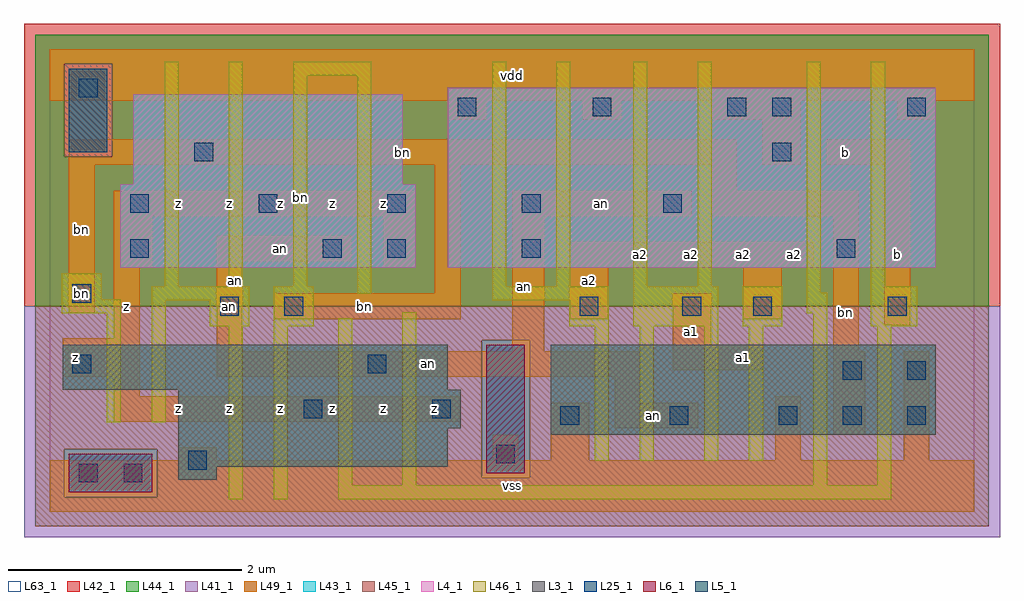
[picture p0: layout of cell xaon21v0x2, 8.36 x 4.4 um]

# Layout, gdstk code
import gdstk
lib = gdstk.Library(unit=1e-6, precision=1e-09)
def R(c, l, rs):  # rectangles x0, y0, x1, y1
    for r in rs: c.add(gdstk.rectangle(r[:2], r[2:], *l))
def A(c, l, x, y, w, h, nx, ny, dx, dy):  # array of equal rectangles
    R(c, l, [(x+i*dx, y+j*dy, x+i*dx+w, y+j*dy+h) for i in range(nx) for j in range(ny)])
L3_1 = (3, 1)
L4_1 = (4, 1)
L5_1 = (5, 1)
L6_1 = (6, 1)
L25_1 = (25, 1)
L41_1 = (41, 1)
L42_1 = (42, 1)
L43_1 = (43, 1)
L44_1 = (44, 1)
L45_1 = (45, 1)
L46_1 = (46, 1)
L49_1 = (49, 1)
L63_1 = (63, 1)

xaon21v0x2 = lib.new_cell('xaon21v0x2')
R(xaon21v0x2, L3_1, [(1.1,0.275,1.43,0.385), (1.1,0.385,3.41,0.715), (4.29,0.66,7.59,1.43), (1.1,0.715,3.52,1.045), (0.11,1.045,3.41,1.43)])
R(xaon21v0x2, L4_1, [(0.605,2.09,3.135,2.805), (3.41,2.09,7.59,3.63), (0.715,2.805,3.025,3.575)])
R(xaon21v0x2, L5_1, [(0.165,3.08,0.495,3.795)])
R(xaon21v0x2, L6_1, [(0.165,0.165,0.88,0.495), (3.74,0.33,4.07,1.43)])
A(xaon21v0x2, L25_1, 4.375, 0.745, 0.16, 0.16, 3, 1, 0.935, 0)
A(xaon21v0x2, L25_1, 0.69, 2.56, 0.16, 0.16, 3, 1, 1.1, 0)
A(xaon21v0x2, L25_1, 3.495, 3.385, 0.16, 0.16, 3, 1, 1.155, 0)
R(xaon21v0x2, L25_1, [(0.25,0.25,0.41,0.41), (0.635,0.25,0.795,0.41), (1.185,0.36,1.345,0.52), (3.825,0.415,3.985,0.575), (6.795,0.745,6.955,0.905), (7.345,0.745,7.505,0.905), (2.175,0.8,2.335,0.96), (3.275,0.8,3.435,0.96), (6.795,1.13,6.955,1.29), (7.345,1.13,7.505,1.29), (0.195,1.185,0.355,1.345), (2.725,1.185,2.885,1.345), (1.46,1.68,1.62,1.84), (2.01,1.68,2.17,1.84), (4.54,1.68,4.7,1.84), (5.42,1.68,5.58,1.84), (6.025,1.68,6.185,1.84), (7.18,1.68,7.34,1.84), (0.195,1.79,0.355,1.95), (0.69,2.175,0.85,2.335), (2.34,2.175,2.5,2.335), (2.89,2.175,3.05,2.335), (4.045,2.175,4.205,2.335), (6.74,2.175,6.9,2.335), (4.045,2.56,4.205,2.72), (5.255,2.56,5.415,2.72), (1.24,3,1.4,3.16), (6.19,3,6.35,3.16), (6.19,3.385,6.35,3.545), (7.345,3.385,7.505,3.545), (0.25,3.55,0.41,3.71)])
R(xaon21v0x2, L41_1, [(-0.22,-0.22,8.14,1.76)])
R(xaon21v0x2, L42_1, [(-0.22,1.76,8.14,4.18)])
R(xaon21v0x2, L43_1, [(0.165,0.165,0.88,0.495), (1.1,0.275,1.43,0.385), (3.74,0.33,4.07,1.43), (1.1,0.385,3.41,0.715), (4.29,0.66,7.59,1.43), (1.1,0.715,3.52,1.045), (0.11,1.045,3.41,1.43), (0.605,2.09,3.135,2.805), (3.41,2.09,7.59,3.63), (0.715,2.805,3.025,3.575), (0.165,3.08,0.495,3.795)])
R(xaon21v0x2, L44_1, [(0.125,0.125,0.92,0.535), (3.7,0.29,4.11,1.47), (-0.125,1.76,8.045,3.04), (-0.125,3.04,0.125,3.835), (0.535,3.04,8.045,3.835), (-0.125,3.835,8.045,4.085)])
R(xaon21v0x2, L45_1, [(-0.125,-0.125,8.045,0.125), (-0.125,0.125,0.125,0.535), (0.92,0.125,8.045,0.29), (0.92,0.29,3.7,0.535), (4.11,0.29,8.045,1.47), (-0.125,0.535,3.7,1.47), (-0.125,1.47,8.045,1.76), (0.125,3.04,0.535,3.835)])
R(xaon21v0x2, L46_1, [(1.535,0.105,1.655,1.59), (1.92,0.105,2.04,1.59), (2.47,0.105,7.21,0.225), (2.47,0.225,2.59,1.655), (3.02,0.225,3.14,1.71), (6.54,0.225,6.66,1.7), (7.09,0.225,7.21,1.59), (4.67,0.435,4.79,1.59), (5.055,0.435,5.175,1.59), (5.605,0.435,5.725,1.59), (5.99,0.435,6.11,1.59), (0.49,0.765,0.61,1.7), (0.875,0.765,0.995,1.81), (1.37,1.59,1.71,1.81), (1.92,1.59,2.26,1.93), (4.45,1.59,4.79,1.81), (5,1.59,5.725,1.93), (5.935,1.59,6.275,1.93), (7.035,1.59,7.43,1.93), (0.105,1.7,0.61,1.82), (6.485,1.7,6.66,1.875), (0.875,1.81,1.71,1.93), (3.79,1.81,4.79,1.93), (0.105,1.82,0.445,2.04), (2.635,1.865,2.755,3.735), (6.485,1.875,6.605,3.855), (0.985,1.93,1.105,3.855), (1.535,1.93,1.655,3.855), (2.085,1.93,2.205,3.735), (3.79,1.93,3.91,3.855), (4.34,1.93,4.46,3.855), (5,1.93,5.12,3.855), (5.55,1.93,5.67,3.855), (7.035,1.93,7.155,3.855), (2.085,3.735,2.755,3.855)])
R(xaon21v0x2, L49_1, [(0,0,7.92,0.44), (1.1,0.44,1.43,0.55), (3.795,0.44,4.015,0.66), (4.29,0.44,4.62,0.935), (6.215,0.44,6.435,0.99), (7.315,0.44,7.535,1.375), (6.71,0.66,6.985,1.375), (4.84,0.715,5.555,0.935), (0.55,0.77,3.52,0.99), (4.84,0.935,5.06,1.155), (0.55,0.99,0.77,1.155), (0.11,1.155,0.77,1.485), (1.43,1.155,5.06,1.375), (5.335,1.21,6.105,1.43), (1.43,1.375,1.65,2.145), (3.96,1.375,4.235,2.53), (6.71,1.375,6.93,2.53), (5.335,1.43,5.665,1.87), (0.55,1.485,0.77,2.09), (7.15,1.595,7.37,2.97), (1.925,1.65,3.52,1.87), (4.455,1.65,4.785,2.09), (5.94,1.65,6.27,2.09), (0.165,1.705,0.385,2.97), (3.3,1.87,3.52,2.97), (0.55,2.09,0.88,2.53), (2.86,2.09,3.135,2.53), (4.455,2.09,6.545,2.31), (1.43,2.145,2.585,2.365), (0.55,2.53,3.135,2.75), (3.96,2.53,5.5,2.75), (5.665,2.53,6.93,2.75), (5.665,2.75,5.885,2.97), (0.165,2.97,5.885,3.19), (6.105,2.97,6.435,3.355), (6.655,2.97,7.37,3.19), (3.41,3.355,3.74,3.52), (4.565,3.355,4.895,3.52), (5.665,3.355,6.435,3.52), (7.26,3.355,7.59,3.52), (0,3.52,7.92,3.96)])
R(xaon21v0x2, L63_1, [(0,0,7.92,3.96)])
xaon21v0x2.add(gdstk.Label('bn', (0.275,1.87), layer=49, texttype=1))
xaon21v0x2.add(gdstk.Label('an', (1.595,1.98), layer=46, texttype=1))
xaon21v0x2.add(gdstk.Label('bn', (2.145,2.695), layer=46, texttype=1))
xaon21v0x2.add(gdstk.Label('z', (1.1,0.88), layer=49, texttype=1))
xaon21v0x2.add(gdstk.Label('z', (0.22,1.32), layer=49, texttype=1))
xaon21v0x2.add(gdstk.Label('z', (0.66,1.76), layer=49, texttype=1))
xaon21v0x2.add(gdstk.Label('z', (1.1,2.64), layer=49, texttype=1))
xaon21v0x2.add(gdstk.Label('bn', (0.275,2.42), layer=49, texttype=1))
xaon21v0x2.add(gdstk.Label('z', (1.98,0.88), layer=49, texttype=1))
xaon21v0x2.add(gdstk.Label('z', (2.42,0.88), layer=49, texttype=1))
xaon21v0x2.add(gdstk.Label('z', (2.86,0.88), layer=49, texttype=1))
xaon21v0x2.add(gdstk.Label('z', (1.54,0.88), layer=49, texttype=1))
xaon21v0x2.add(gdstk.Label('an', (1.98,2.255), layer=49, texttype=1))
xaon21v0x2.add(gdstk.Label('an', (1.54,1.76), layer=49, texttype=1))
xaon21v0x2.add(gdstk.Label('z', (1.54,2.64), layer=49, texttype=1))
xaon21v0x2.add(gdstk.Label('z', (1.98,2.64), layer=49, texttype=1))
xaon21v0x2.add(gdstk.Label('z', (2.42,2.64), layer=49, texttype=1))
xaon21v0x2.add(gdstk.Label('z', (2.86,2.64), layer=49, texttype=1))
xaon21v0x2.add(gdstk.Label('vss', (3.96,0.22), layer=49, texttype=1))
xaon21v0x2.add(gdstk.Label('z', (3.3,0.88), layer=49, texttype=1))
xaon21v0x2.add(gdstk.Label('bn', (2.695,1.76), layer=49, texttype=1))
xaon21v0x2.add(gdstk.Label('a2', (4.62,1.98), layer=49, texttype=1))
xaon21v0x2.add(gdstk.Label('an', (4.07,1.925), layer=49, texttype=1))
xaon21v0x2.add(gdstk.Label('vdd', (3.96,3.74), layer=49, texttype=1))
xaon21v0x2.add(gdstk.Label('an', (5.17,0.825), layer=49, texttype=1))
xaon21v0x2.add(gdstk.Label('an', (3.245,1.265), layer=49, texttype=1))
xaon21v0x2.add(gdstk.Label('a1', (5.94,1.32), layer=49, texttype=1))
xaon21v0x2.add(gdstk.Label('a1', (5.5,1.54), layer=49, texttype=1))
xaon21v0x2.add(gdstk.Label('a2', (5.5,2.2), layer=49, texttype=1))
xaon21v0x2.add(gdstk.Label('a2', (5.94,2.2), layer=49, texttype=1))
xaon21v0x2.add(gdstk.Label('a2', (5.06,2.2), layer=49, texttype=1))
xaon21v0x2.add(gdstk.Label('an', (4.73,2.64), layer=49, texttype=1))
xaon21v0x2.add(gdstk.Label('bn', (3.025,3.08), layer=49, texttype=1))
xaon21v0x2.add(gdstk.Label('a2', (6.38,2.2), layer=49, texttype=1))
xaon21v0x2.add(gdstk.Label('b', (7.26,2.2), layer=49, texttype=1))
xaon21v0x2.add(gdstk.Label('bn', (6.82,1.705), layer=49, texttype=1))
xaon21v0x2.add(gdstk.Label('b', (6.82,3.08), layer=49, texttype=1))

lib.write_gds('xaon21v0x2.gds')
